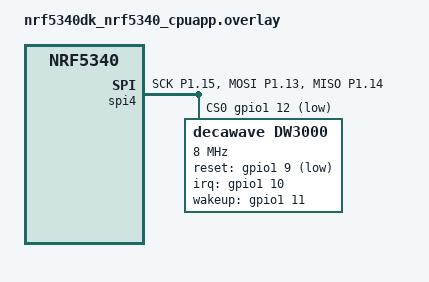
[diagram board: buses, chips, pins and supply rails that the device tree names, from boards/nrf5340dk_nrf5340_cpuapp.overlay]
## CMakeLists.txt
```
# Standalone Zephyr app: the credential initiator (User-Device role) on an nRF5340 DK,
# the bench stand-in for an iPhone. Scans for a reader's 0xFFF2 advert, opens the
# L2CAP channel and runs the Access Protocol to a shared URSK. No UWB: ranging on
# that URSK is Stage 1b and needs the DWM3000EVB driver linked in as well.
#
# Layout follows on_target_ec/ next door: a normal Zephyr app that lists the
# modules/ultrawidelock_cred sources it needs directly, rather than a Zephyr module gated
# on CONFIG_ULTRAWIDELOCK_CRED_STACK. That module deliberately omits the transport, and
# the source list here is the same one examples/esp32/initiator links through
# its ultrawidelock_{crypto,device,ble_central} components.
cmake_minimum_required(VERSION 3.20.0)
find_package(Zephyr REQUIRED HINTS $ENV{ZEPHYR_BASE})
project(ultrawidelock_initiator_nrf5340dk)

get_filename_component(REPO_ROOT "${CMAKE_CURRENT_LIST_DIR}/../../.." ABSOLUTE)
set(CRED "${REPO_ROOT}/modules/ultrawidelock_cred")
set(UWB_INC "${REPO_ROOT}/modules/ultrawidelock_uwb/include")
set(UWB "${REPO_ROOT}/modules/ultrawidelock_uwb/src/cred")
set(CCC "${REPO_ROOT}/modules/ultrawidelock_uwb/src/ccc")

# Shared sources by role manifest (modules/{ultrawidelock_cred,ultrawidelock_uwb}/roles/*.list) —
# the same lists the ESP32 components and the host suite read.
include("${REPO_ROOT}/cmake/ultrawidelock_roles.cmake")
ultrawidelock_role_sources("${CRED}/roles/ble_central.list" ULTRAWIDELOCK_BLE_CENTRAL_SRCS)
ultrawidelock_role_sources("${CRED}/roles/device.list" ULTRAWIDELOCK_DEVICE_SRCS)
ultrawidelock_role_sources("${CRED}/roles/apdu.list" ULTRAWIDELOCK_APDU_SRCS)
ultrawidelock_role_sources("${CRED}/roles/crypto.list" ULTRAWIDELOCK_CRYPTO_SRCS)
ultrawidelock_role_sources("${CRED}/roles/hash.list" ULTRAWIDELOCK_HASH_SRCS)
set(UWBROLES "${REPO_ROOT}/modules/ultrawidelock_uwb/roles")
ultrawidelock_role_sources("${UWBROLES}/ultrawidelock_device.list" UWB_DEVICE_SRCS)
ultrawidelock_role_sources("${UWBROLES}/ultrawidelock_codec.list" UWB_CODEC_SRCS)
ultrawidelock_role_sources("${UWBROLES}/ccc_keys.list" UWB_CCC_KEYS_SRCS)
ultrawidelock_role_sources("${UWBROLES}/crypto_psa.list" UWB_CRYPTO_SRCS)

target_sources(app PRIVATE
	src/main.c
	# BLE transport. The Zephyr backend lives with the reader's peripheral
	# mirror in ports/zephyr/ble so the two central/peripheral halves stay side
	# by side; it depends on no symbol from apps/dwm3001cdk-lock/Kconfig, which is what
	# makes it linkable from here. The ble_central role is the platform-free
	# decoder half, the same translation unit the ESP32 port and the host suite
	# compile.
	${REPO_ROOT}/ports/zephyr/ble/ultrawidelock_ble_central_zephyr.c
	${ULTRAWIDELOCK_BLE_CENTRAL_SRCS}
	# Access Protocol, device side (roles device + apdu), plus the key schedule
	# and the PSA primitive backend (roles crypto + hash).
	${ULTRAWIDELOCK_DEVICE_SRCS}
	${ULTRAWIDELOCK_APDU_SRCS}
	${ULTRAWIDELOCK_CRYPTO_SRCS}
	${ULTRAWIDELOCK_HASH_SRCS}
	# UWB ranging SETUP, device side. Roles, not the ultrawidelock_uwb Zephyr module:
	# that module's CMakeLists gates everything on CONFIG_ULTRAWIDELOCK_UWB_RESPONDER and
	# builds the reader's session, adapter and CCC engine, none of which a device
	# uses. ultrawidelock_device (ultrawidelock_device_uwb.c) is the M1/M3 parser and M2/M4
	# builder, host-tested by tests/host/test_ultrawidelock_device_uwb.c against the real
	# reader codec; ultrawidelock_codec is the TLV builder and parser it is written on.
	# No radio here.
	src/ranging.c
	${UWB_DEVICE_SRCS}
	${UWB_CODEC_SRCS}
	# UWB initiator role, radio side. Again not the ultrawidelock_uwb module: its CCC
	# block is gated on CONFIG_ULTRAWIDELOCK_CRED, which `depends on ULTRAWIDELOCK_UWB_RESPONDER`
	# and would drag in the reader's session, adapter and RX engine. The CCC
	# key schedule and MAC (role ccc_keys) are role-neutral -- nothing in
	# ccc_kdf.c or ccc_mac.c knows which end it is on -- so the initiator links
	# the same translation units the reader does. crypto_psa is the AES-ECB
	# seam behind the key schedule, matching the reader on nRF;
	# ccc_crypto_mbedtls.c is the ESP32 branch and is not wanted here.
	src/prepoll_tx.c
	${UWB_CCC_KEYS_SRCS}
	${UWB_CRYPTO_SRCS}
)
# The app target also compiles selected module sources, so their private
# sibling headers remain on this target's private include path.
target_include_directories(app PRIVATE ${CRED}/include ${CRED}/src
	# The UWB codec's own headers, the adapter/cherry headers its message struct
	# is declared in, and the two platform facades it compiles against
	# (qmalloc -> k_malloc, LOG_MODULE_DECLARE).
	${UWB_INC} ${UWB}
	${REPO_ROOT}/modules/ultrawidelock_uwb/src/facade
	${REPO_ROOT}/modules/ultrawidelock_port/include
	# The CCC key schedule and MAC headers, plus src/driver for uwb_seam.h
	# (ultrawidelock_uwb_configure_phy). CONFIG_ULTRAWIDELOCK_UWB already puts src/driver on the
	# path for the module's own library, but this app's sources are compiled
	# into `app`, which does not inherit it.
	${CCC}
	${REPO_ROOT}/modules/ultrawidelock_uwb/src/driver)

# Enrolled or not, decided here rather than with __has_include in main.c.
# semgrep cannot parse __has_include, and a file it cannot parse is one that
# NONE of its rules run against -- which would silently drop SAST coverage of
# the translation unit that holds the credential key. Configure-time detection
# means a freshly written header needs a re-configure to be picked up; that is
# what scripts/ultrawidelock-enroll.py tells you to do when it finishes.
if(EXISTS "${CMAKE_CURRENT_LIST_DIR}/src/bench_identity.h")
	message(STATUS "credential initiator: ENROLLED identity (src/bench_identity.h)")
	target_compile_definitions(app PRIVATE ULTRAWIDELOCK_BENCH_ENROLLED)
else()
	message(STATUS "credential initiator: DEV fallback identity, run scripts/ultrawidelock-enroll.py")
endif()
```

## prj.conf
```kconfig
# nRF5340 DK, app core: credential initiator (User-Device role).
#
# Two halves. The BLE half is the central mirror of the reader's peripheral
# config in apps/dwm3001cdk-lock/prj.conf, and the buffer sizing below is copied from it
# deliberately so an SDU that fits one fits the other. The PSA half is the same
# block on_target_ec/prj.conf proved against the real CryptoCell backend.
CONFIG_MAIN_STACK_SIZE=16384

# The Access Protocol does not run on main. L2CAP CoC reassembly lands on the
# system workqueue, so on_data() and everything under ultrawidelock_device_on_command()
# -- P-256 ECDH through PSA -- execute on this stack, and Zephyr's 1024 B default
# overflows the first time AUTH0 arrives (USAGE FAULT at ultrawidelock_device.c:298).
# apps/dwm3001cdk-lock/prj.conf:325 gives the reader 4096 for the same crypto; this side adds
# 644 B of response buffers on top (resp[320] + frame[4+320] in on_data), so it
# gets the next size up rather than the reader's exact figure.
CONFIG_SYSTEM_WORKQUEUE_STACK_SIZE=8192
CONFIG_STDOUT_CONSOLE=y

# The M2/M4 builder allocates each message (ultrawidelock_uwb_msg_builder.c: qmalloc ->
# k_malloc). Messages are tens of bytes and are freed as soon as they are sealed.
#
# This is a no-op today and deliberately kept: the board already contributes
# CONFIG_HEAP_MEM_POOL_ADD_SIZE_BOARD=4096, so the pool was this size before the
# line existed and the measured RAM cost of adding it was 7 bytes. It is here so
# the requirement is stated by the application that has it. A k_malloc against a
# zero-sized pool returns NULL with no build-time warning, and inheriting that
# size from a board default is not something to discover on hardware.
CONFIG_HEAP_MEM_POOL_SIZE=4096

# --- UWB radio ---------------------------------------------------------------
# ULTRAWIDELOCK_UWB alone is a complete tier: it compiles uwb_min.c and nothing else, which
# is the DW3110 bring-up driver plus a raw static-STS SS-TWR initiator burst. It
# selects SPI and GPIO for us and puts modules/ultrawidelock_uwb/src/driver and
# modules/ultrawidelock_port/include on the include path.
#
# Deliberately NOT ULTRAWIDELOCK_UWB_RESPONDER, which is the lock's role and pulls in the
# whole CCC/credential session engine. This board needs the initiator role, and that
# role does not exist yet (Kconfig has no symbol for it).
#
# Needs -DZEPHYR_EXTRA_MODULES with modules/ultrawidelock_uwb and modules/ultrawidelock_dw3000, and a
# PRISTINE build directory so boards/*.overlay is discovered. `make nrf-init-build`
# does both.
CONFIG_ULTRAWIDELOCK_UWB=y

# uwb_min.c is written against the Decawave driver (deca_device_api.h,
# dw3000_hw.h), and modules/ultrawidelock_dw3000 contributes nothing at all -- not even its
# include paths -- unless CONFIG_DW3000 is set: its whole CMakeLists is wrapped
# in if(CONFIG_DW3000). Putting the module on ZEPHYR_EXTRA_MODULES is necessary
# and not sufficient, and the failure is a missing header rather than anything
# that names the option. The chip choice mirrors apps/dwm3001cdk-lock/prj.conf:213-214; the
# DWM3000EVB carries a DW3110, which is the DW3000 branch.
CONFIG_DW3000=y
CONFIG_DW3000_CHIP_DW3000=y

# ports/zephyr/dw3000/dw3000_spi.c:127 calls spi_transceive_signal, which is the
# ASYNC SPI API and compiles to nothing without this -- the failure is a link
# error naming the symbol, with no hint that a Kconfig is missing.
# apps/dwm3001cdk-lock/prj.conf:210-212 carries the same line and the same explanation.
CONFIG_SPI_ASYNC=y

CONFIG_LOG=y
CONFIG_LOG_MODE_DEFERRED=y
CONFIG_LOG_BUFFER_SIZE=4096

# --- BLE: central + observer, the two roles the reader does not have ---------
# BT_OBSERVER is what lets us scan for the reader's 0xFFF2 advert; BT_CENTRAL is
# what lets us connect to it. Both are n in apps/dwm3001cdk-lock/prj.conf, which is the whole
# reason this app cannot simply be a build flag on the reader.
CONFIG_BT=y
CONFIG_BT_CENTRAL=y
CONFIG_BT_OBSERVER=y
CONFIG_BT_PERIPHERAL=n
CONFIG_BT_BROADCASTER=n
CONFIG_BT_MAX_CONN=1
CONFIG_BT_MAX_PAIRED=0
CONFIG_BT_DEVICE_NAME="ultrawidelock-initiator"

# GATT client: discover the service, discover the two characteristics, READ the
# reader's SPSM/version list, WRITE the version we select.
CONFIG_BT_GATT_CLIENT=y

# The credential data path is an L2CAP connection-oriented channel on the SPSM the
# READ returns. 512 matches ULTRAWIDELOCK_L2CAP_MTU in the backend and the reader's own
# CONFIG_BT_L2CAP_TX_MTU; the ACL sizes below leave the controller segmenting,
# which is what the reader already does over the air.
CONFIG_BT_L2CAP_DYNAMIC_CHANNEL=y
CONFIG_BT_L2CAP_TX_MTU=512
CONFIG_BT_BUF_ACL_RX_SIZE=255
CONFIG_BT_BUF_ACL_TX_SIZE=251

# SMP is not wanted for itself — nothing here pairs — but BT_L2CAP_DYNAMIC_CHANNEL
# `depends on BT_SMP` (zephyr/subsys/bluetooth/host/Kconfig.l2cap:49), so turning
# it off silently drops the CoC support with no warning and the link fails on
# bt_l2cap_chan_connect. The reader carries it for the same reason
# (apps/dwm3001cdk-lock/prj.conf:29). Bonding and signing stay off, which is the part that
# actually matters.
CONFIG_BT_SMP=y
CONFIG_BT_BONDABLE=n
CONFIG_BT_SIGNING=n
CONFIG_BT_GATT_CACHING=n
CONFIG_BT_EATT=n

# --- PSA crypto ---------------------------------------------------------------
CONFIG_NRF_SECURITY=y
CONFIG_MBEDTLS_PSA_CRYPTO_C=y

# PSA working buffers come from the mbedTLS heap. Without it psa_import_key,
# AES-GCM and P-256 all fail with -141 (PSA_ERROR_INSUFFICIENT_MEMORY).
CONFIG_MBEDTLS_ENABLE_HEAP=y
CONFIG_MBEDTLS_HEAP_SIZE=32768

# The exact primitives ultrawidelock_prim_psa.c calls.
CONFIG_PSA_WANT_ALG_ECDSA=y
CONFIG_PSA_WANT_ALG_ECDH=y
CONFIG_PSA_WANT_KEY_TYPE_ECC_KEY_PAIR_GENERATE=y
CONFIG_PSA_WANT_KEY_TYPE_ECC_KEY_PAIR_IMPORT=y
CONFIG_PSA_WANT_KEY_TYPE_ECC_KEY_PAIR_EXPORT=y
CONFIG_PSA_WANT_KEY_TYPE_ECC_KEY_PAIR_DERIVE=y
CONFIG_PSA_WANT_KEY_TYPE_ECC_PUBLIC_KEY=y
CONFIG_PSA_WANT_ECC_SECP_R1_256=y
CONFIG_PSA_WANT_ALG_SHA_256=y
CONFIG_PSA_WANT_ALG_GCM=y
CONFIG_PSA_WANT_KEY_TYPE_AES=y
CONFIG_PSA_WANT_GENERATE_RANDOM=y

# The CCC key schedule (ccc_kdf.c) is built entirely on one AES-ECB block
# encrypt, reached through ccc_crypto_psa.c. Without this the file still
# compiles and links -- PSA_ALG_ECB_NO_PADDING is always declared -- and
# psa_cipher_encrypt fails at RUNTIME with NOT_SUPPORTED, which surfaces as a
# Pre-POLL the reader silently drops on a MIC check. Nothing names the missing
# option.
CONFIG_PSA_WANT_ALG_ECB_NO_PADDING=y
```

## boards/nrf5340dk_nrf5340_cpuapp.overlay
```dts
/*
 * DWM3000EVB on the nRF5340 DK Arduino header, for the credential initiator.
 *
 * The pinout is copied verbatim from apps/nrf5340dk-lock/overlays/dw3000-nfc.overlay,
 * which is the wiring proven on this bench (HV-3, 2026-08-06: raw DEV_ID reads
 * 0xdeca0302 and ultrawidelock_uwb_start_cred() reaches ACTIVE). Only the DW3000 half is
 * here. That file also retargets SPIM1 for an NFC12A1 shield and patches a
 * nucleo_nfc@0 node that exists only in the door-lock app's devicetree, so it
 * cannot be reused as-is: an initiator has no NFC frontend and referencing that
 * node would fail to build.
 *
 * This lands as boards/<board>.overlay rather than an -DEXTRA_DTC_OVERLAY_FILE
 * argument so the shield travels with the application, the way on_target_ec's
 * config does. There is no second supported wiring to select between.
 *
 * DW3000 (DWM3000EVB) on SPIM4: SCK P1.15, MOSI P1.13, MISO P1.14, CS P1.12,
 *   RSTn P1.09, IRQ P1.10, WAKEUP P1.11 (Arduino header, seated shield).
 */

&pinctrl {
	spi4_default: spi4_default {
		group1 {
			psels = <NRF_PSEL(SPIM_SCK,  1, 15)>,
				<NRF_PSEL(SPIM_MOSI, 1, 13)>,
				<NRF_PSEL(SPIM_MISO, 1, 14)>;
		};
	};

	spi4_sleep: spi4_sleep {
		group1 {
			psels = <NRF_PSEL(SPIM_SCK,  1, 15)>,
				<NRF_PSEL(SPIM_MOSI, 1, 13)>,
				<NRF_PSEL(SPIM_MISO, 1, 14)>;
			low-power-enable;
		};
	};
};

&spi4 {
	status = "okay";
	pinctrl-0 = <&spi4_default>;
	pinctrl-1 = <&spi4_sleep>;
	pinctrl-names = "default", "sleep";
	cs-gpios = <&gpio1 12 GPIO_ACTIVE_LOW>;

	dw3000: dw3000@0 {
		compatible = "decawave,dw3000";
		reg = <0>;
		/* 8 MHz, the same proven value as the door lock's overlay.
		 *
		 * This property does NOT set the probe speed, which is worth knowing
		 * before tuning it: ports/zephyr/dw3000/dw3000_spi.c:47-49 keeps two
		 * configs, hard-codes the slow one at 2 MHz, and starts on it. The
		 * devicetree value only lands after dw3000_spi_speed_fast(). Dropping
		 * this to 2 MHz to chase a bad probe read therefore changes nothing
		 * about the probe and only slows the ranging path -- measured here, the
		 * bad read was byte-for-byte identical at both speeds. */
		spi-max-frequency = <8000000>;
		reset-gpios  = <&gpio1  9 GPIO_ACTIVE_LOW>;
		irq-gpios    = <&gpio1 10 GPIO_ACTIVE_HIGH>;
		wakeup-gpios = <&gpio1 11 GPIO_ACTIVE_HIGH>;
	};
};

&gpio1 {
	status = "okay";
};
```

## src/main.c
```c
/* SPDX-License-Identifier: ISC */

// nRF5340 DK application entry for the credential initiator, the User-Device role that
// stands in for an iPhone on the bench. Starts the Zephyr BLE central, which
// scans for the reader's 0xFFF2 advert, connects, reads the reader's SPSM,
// supported versions and features, writes the version it selects, and opens the
// L2CAP channel. It then runs the Access Protocol over that channel: every
// inbound AUTH0/AUTH1/EXCHANGE command is fed to the device state machine and the
// sealed response is framed straight back, ending in the same 32-byte URSK the
// reader derives. Credentials are the compiled-in bench pair below, which works
// only against a reader running its dev identity with an empty trust store.
/*
 * Port of examples/esp32/initiator/main/main.c -- the same program on two
 * stacks, differing only in logging macros and entry point (ultrawidelock_ble_central.h
 * absorbs NimBLE-vs-Zephyr); keep them in step. The transport half lives in
 * ports/zephyr/ble/ultrawidelock_ble_central_zephyr.c, the protocol half in ultrawidelock_cred's
 * ultrawidelock_device; this file is only the glue. UWB is NOT yet wired: ESTABLISHED
 * means the boards agreed a URSK, ranging on it needs the DWM3000EVB driver.
 */
#include <stdbool.h>
#include <string.h>

#include <zephyr/kernel.h>
#include <zephyr/logging/log.h>

#include "ultrawidelock_apdu.h" /* 4-byte envelope: frame/unframe + PROTO/OP constants */
#include "ultrawidelock_ble_central.h"
#include "ultrawidelock_crypto.h" /* ultrawidelock_crypto_init: brings up the PSA backend */
#include <ultrawidelock/device.h>
#include "ranging.h" /* the post-auth BleSK ranging-setup driver */

#if defined(CONFIG_ULTRAWIDELOCK_UWB)
#include "uwb_min.h"
#if defined(CONFIG_SOC_SERIES_NRF53)
#include <hal/nrf_clock.h>
#include <nrfx.h>
#include <zephyr/init.h>

/**
 * Put HFCLK on DIV_1 before anything else starts, so SPIM4 samples MISO correctly.
 *
 * Measured on this bench 2026-08-07. With HFCLKCTRL at DIV_2, every DW3000 read
 * comes back sampled one SPI clock early: DEV_ID 0xdeca0302 arrives as
 * 0x6fe50101, which reconstructs exactly under a one-bit right shift with
 * byte-to-byte carry. Setting DIV_1 turns the same read good on the same board
 * with nothing else changed, so the divider is causal rather than correlated.
 * SPIM4's sample point is derived from HFCLK; spi_nrfx_spim.c:182-184 reads this
 * same divider for the same reason.
 *
 * Why this is not inherited: nrf_qspi_nor.c is the ONLY caller of
 * nrf_clock_hfclk_div_set() in Zephyr and NCS combined. The door lock reads the
 * DW3000 correctly purely because it builds CONFIG_NORDIC_QSPI_NOR for its
 * external flash and that driver leaves the divider on DIV_1. This application
 * has no external flash and must therefore own the divider itself. Do not
 * "clean this up" by deleting it because nothing appears to use it.
 *
 * PRE_KERNEL_1 so it lands before the SPI driver, and well before BLE and MPSL,
 * which is the reason it is here and not in radio_probe(): changing a global
 * clock underneath a running radio is how you buy intermittent faults.
 */
static int hfclk_div_fixup(void)
{
	nrf_clock_hfclk_div_set(NRF_CLOCK, NRF_CLOCK_HFCLK_DIV_1);
	return 0;
}
SYS_INIT(hfclk_div_fixup, PRE_KERNEL_1, 0);
#endif
#endif

LOG_MODULE_REGISTER(initiator, CONFIG_LOG_DEFAULT_LEVEL);

/* credential protocol v1.0 — the only version our reader offers or we speak. */
#define INITIATOR_VERSION 0x0100u

/* The largest Access-Protocol response we build. AUTH1Response is the big one
 * (65-byte device public key + 64-byte signature + TLV overhead) and lands well
 * under this; the reader sizes its own command buffer at 256 for the same
 * reason. */
#define INITIATOR_RESP_MAX 320u

/* An enrolled build gets its identity from the header scripts/ultrawidelock-enroll.py
 * writes: the real reader's public identity read back over Matter, plus a
 * credential this initiator was issued by the reader's home. That is the
 * high-fidelity configuration -- the reader is a normal provisioned lock and we
 * are a normal enrolled device. The header is gitignored because it carries a
 * private key, so its absence is the ordinary case and must not break the build.
 *
 * CMakeLists.txt decides which way this goes, by looking for the file. It is NOT
 * __has_include: that construct is unparseable to semgrep, and a file it cannot
 * parse is a file NONE of its rules run against -- a silent loss of SAST
 * coverage over the one translation unit here that handles key material. The
 * cost is that adding the header needs a re-configure, not just a rebuild.
 */
#ifdef ULTRAWIDELOCK_BENCH_ENROLLED
#include "bench_identity.h"
#endif

#ifndef ULTRAWIDELOCK_BENCH_ENROLLED
/*
 * ---- bench credentials -----------------------------------------------------
 *
 * Fallback for an un-enrolled bench: only works against a reader on its DEV
 * identity. Run scripts/ultrawidelock-enroll.py to target a real provisioned reader.
 *
 * The reader identity below is the DEV identity every unprovisioned reader falls
 * back to (ultrawidelock_prov.c, ultrawidelock_prov_dev_default). reader_id is that file's
 * k_dev_reader_id verbatim, and the verification key is the public point of its
 * k_dev_sign_priv — note reader_id is exactly that point's X coordinate, which
 * is how the dev identity was constructed and a free check that these two agree.
 *
 * This only works against a reader that is still on its dev identity AND has an
 * empty trust store: that combination makes the reader accept any presented
 * credential (ultrawidelock_reader.c, the tv == 1 && s_id.is_dev branch). A reader
 * provisioned over Matter has a real identity and enforces its trust store, so
 * these constants are wrong for it and the transaction will fail at AUTH1.
 *
 * The credential keypair is a throwaway generated for the bench. It is a real
 * P-256 key and it is in a public repository, so it is a test fixture and
 * nothing else: never provision it into anything that guards a door.
 */
static const uint8_t k_reader_id[32] = {
	0x11, 0x3b, 0x1a, 0x9e, 0xf2, 0x95, 0x67, 0x60, 0x8b, 0x75, 0x00,
	0xfb, 0xac, 0xa6, 0x09, 0xe9, 0xc0, 0x7b, 0x87, 0x4e, 0x18, 0x2a,
	0xe5, 0x65, 0x02, 0x4b, 0x54, 0x3e, 0x3b, 0x40, 0x93, 0x5f,
};
static const uint8_t k_reader_verif_pub[65] = {
	0x04, 0x11, 0x3b, 0x1a, 0x9e, 0xf2, 0x95, 0x67, 0x60, 0x8b, 0x75, 0x00, 0xfb,
	0xac, 0xa6, 0x09, 0xe9, 0xc0, 0x7b, 0x87, 0x4e, 0x18, 0x2a, 0xe5, 0x65, 0x02,
	0x4b, 0x54, 0x3e, 0x3b, 0x40, 0x93, 0x5f, 0xe2, 0x96, 0x5c, 0x08, 0x3e, 0xac,
	0x2c, 0x96, 0xf0, 0x49, 0x5b, 0x0c, 0x3c, 0x6b, 0x09, 0x12, 0x15, 0xca, 0x3d,
	0x40, 0x6f, 0x82, 0x14, 0x1b, 0xfd, 0x18, 0x66, 0xf4, 0xad, 0x1e, 0x8c, 0xd4,
};
static const uint8_t k_cred_priv[32] = {
	0x33, 0xbb, 0x36, 0x4e, 0xf0, 0xf2, 0xee, 0xfe, 0xdc, 0xd3, 0x22,
	0x8a, 0xe8, 0x57, 0x2f, 0xc2, 0xe5, 0xc9, 0x02, 0x4a, 0x40, 0xc5,
	0xe5, 0x78, 0xcb, 0xa2, 0xa6, 0x93, 0x8b, 0x29, 0xc3, 0xb5,
};
#endif /* ULTRAWIDELOCK_BENCH_ENROLLED */

/* One transaction at a time: the reader serves one credential session per connection
 * and the central connects to one reader. s_conn is the connection s_dev belongs
 * to, so a stale SDU after a reconnect cannot be fed to the wrong session. */
static struct ultrawidelock_device s_dev;
static uint16_t s_conn;
static bool s_armed;

/**
 * Return a human-readable string for a credential device phase: IDLE, SENT_AUTH0_RESP,
 * SENT_AUTH1_RESP, ESTABLISHED, or FAILED.
 */
static const char *phase_str(enum ultrawidelock_device_phase p)
{
	switch (p) {
	case ULTRAWIDELOCK_DEV_IDLE:
		return "IDLE";
	case ULTRAWIDELOCK_DEV_SENT_AUTH0_RESP:
		return "SENT_AUTH0_RESP";
	case ULTRAWIDELOCK_DEV_SENT_AUTH1_RESP:
		return "SENT_AUTH1_RESP";
	case ULTRAWIDELOCK_DEV_ESTABLISHED:
		return "ESTABLISHED";
	default:
		return "FAILED";
	}
}

/**
 * Callback when the BLE transport is ready after the peer advertises its SPSM and supported
 * versions. Initialize the device state machine with the credential private key and reader
 * identity, derive the BleSK salt from the peer's published version list, and arm the device to
 * wait for AUTH0. Log connection and version details.
 */
static void on_ready(uint16_t conn_handle, const struct ultrawidelock_ble_central_peer *peer)
{
	LOG_INF("=== transport up (conn %u) ===", conn_handle);
	LOG_INF("  SPSM     0x%04x", (unsigned)peer->spsm);
	LOG_INF("  features 0x%02x", peer->features);
	for (size_t i = 0; i < peer->versions_count; i++) {
		LOG_INF("  version[%u] 0x%04x", (unsigned)i, (unsigned)peer->versions[i]);
	}

	s_armed = false;
	if (ultrawidelock_device_init(&s_dev, k_cred_priv, k_reader_id, k_reader_verif_pub) != 0) {
		LOG_ERR("device init failed (EC unavailable?)");
		return;
	}

	/* The peer's published version list is the BleSK salt (§11.8.1), and it is a
	 * property of the reader, not of us: our ESP32 reader publishes v1.0 alone
	 * while the nRF publishes two entries. Taking it from the GATT READ we just
	 * did is the whole reason that READ happens before the channel opens; the
	 * compiled-in default would derive a BleSK the nRF does not share. */
	uint8_t salt[2u * (ULTRAWIDELOCK_BLE_CENTRAL_MAX_VERSIONS + 1u)];
	size_t salt_len = 0;

	if (ultrawidelock_ble_central_blesk_salt(peer, INITIATOR_VERSION, salt, sizeof(salt), &salt_len) !=
	    0) {
		LOG_ERR("BleSK salt assembly failed");
		return;
	}
	if (ultrawidelock_device_set_blesk_salt(&s_dev, salt, salt_len) != 0) {
		LOG_ERR("BleSK salt rejected (%u B)", (unsigned)salt_len);
		return;
	}
	LOG_HEXDUMP_INF(salt, salt_len, "blesk salt");

	s_conn = conn_handle;
	s_armed = true;

	/*
	 * The DEVICE speaks first. The reader sits in PH_IDLE until it receives
	 * a NOTIFICATION/Initiate-Access-Protocol frame, and start_auth() --
	 * which is what emits AUTH0 -- has exactly one call site, that branch
	 * (ultrawidelock_reader.c:1529). Without this both ends wait for each other: the
	 * L2CAP channel opens, the reader logs "credential session created", and
	 * nothing else ever happens. Observed on hardware, twice, before this
	 * line existed.
	 *
	 * The payload is the 0xA5 proprietary-info TLV that becomes the trailing
	 * field of the session-key salt (Aliro Table 10-2). A real phone sends
	 * its own; this is the CSA-app v1.0-only value, byte-identical to the
	 * fallback the reader substitutes when a device sends none -- so the two
	 * ends derive the same salt whether or not this frame carries it, and
	 * the reader logs which of the two happened.
	 */
	{
		static const uint8_t a5_csa_v1[] = {
			0xa5, 0x08, 0x80, 0x02, 0x00, 0x00, 0x5c, 0x02, 0x01, 0x00,
		};
		uint8_t frame[ULTRAWIDELOCK_ENVELOPE_HDR + sizeof(a5_csa_v1)];
		size_t frame_len = 0;
		int rc;

		if (ultrawidelock_ble_frame(
			    ULTRAWIDELOCK_PROTO_NOTIFICATION, ULTRAWIDELOCK_NOTIF_INITIATE_AP,
			    a5_csa_v1, sizeof(a5_csa_v1), frame, sizeof(frame), &frame_len) != 0) {
			LOG_ERR("Initiate-AP framing failed");
			return;
		}
		rc = ultrawidelock_ble_central_send(conn_handle, frame, frame_len);
		LOG_INF("device armed; sent Initiate-AP (%u B, rc=%d), expecting AUTH0",
			(unsigned)frame_len, rc);
	}
}

static void on_data(uint16_t conn_handle, const uint8_t *data, size_t len)
{
	uint8_t type, opcode;
	const uint8_t *pl;
	size_t pl_len;

	/* One envelope per SDU. Our reader sends exactly that (send_ap_command frames
	 * and sends one at a time), so this is right against it; the reader's own RX
	 * path splits coalesced envelopes because a real iPhone packs several into one
	 * SDU. If this is ever pointed at a reader that does the same, the trailing
	 * envelopes are dropped here and the transaction stalls. */
	if (ultrawidelock_ble_unframe(data, len, &type, &opcode, &pl, &pl_len) != 0) {
		LOG_WRN("conn %u: not a valid envelope (%u B)", conn_handle, (unsigned)len);
		LOG_HEXDUMP_WRN(data, len, "sdu");
		return;
	}

	/* Once ESTABLISHED the reader stops speaking Access Protocol and starts
	 * sending BleSK-sealed SDUs on the ranging channel, beginning with
	 * Reader-Status Access-Protocol-Completed. Those go to ranging.c.
	 *
	 * It gets the WHOLE SDU, not the unframed payload: a sealed SDU already is
	 * [proto][id][len_be16][ct||tag], so the four bytes unframed above are its
	 * own authenticated header, not an envelope wrapped around it. They were
	 * only unframed here because the two framings are the same shape. */
	if (type != ULTRAWIDELOCK_PROTO_ACCESS || opcode != ULTRAWIDELOCK_AP_OP_COMMAND) {
		if (initiator_ranging_on_sdu(conn_handle, data, len) == 0) {
			return;
		}
		LOG_INF("conn %u: non-AP SDU type=0x%02x op=0x%02x (%u B), no consumer",
			conn_handle, type, opcode, (unsigned)pl_len);
		LOG_HEXDUMP_INF(pl, pl_len, "payload");
		return;
	}

	if (!s_armed || conn_handle != s_conn) {
		LOG_WRN("conn %u: AP command with no armed session", conn_handle);
		return;
	}

	uint8_t resp[INITIATOR_RESP_MAX];
	size_t resp_len = 0;

	if (ultrawidelock_device_on_command(&s_dev, pl, pl_len, resp, sizeof(resp), &resp_len) != 0) {
		LOG_ERR("conn %u: command rejected in phase %s", conn_handle,
			phase_str(s_dev.phase));
		LOG_HEXDUMP_ERR(pl, pl_len, "command");
		s_armed = false;
		return;
	}

	uint8_t frame[ULTRAWIDELOCK_ENVELOPE_HDR + INITIATOR_RESP_MAX];
	size_t frame_len = 0;

	if (ultrawidelock_ble_frame(ULTRAWIDELOCK_PROTO_ACCESS, ULTRAWIDELOCK_AP_OP_RESPONSE, resp,
				    resp_len, frame, sizeof(frame), &frame_len) != 0) {
		LOG_ERR("conn %u: response framing failed (%u B)", conn_handle, (unsigned)resp_len);
		return;
	}

	int rc = ultrawidelock_ble_central_send(conn_handle, frame, frame_len);

	LOG_INF("conn %u: -> %u B response, phase %s (send rc=%d)", conn_handle, (unsigned)resp_len,
		phase_str(s_dev.phase), rc);

	if (s_dev.phase == ULTRAWIDELOCK_DEV_ESTABLISHED) {
		LOG_INF("=== ESTABLISHED: URSK agreed with the reader ===");
		LOG_HEXDUMP_INF(s_dev.ursk, sizeof(s_dev.ursk), "ursk");
		/* sc_ble is keyed by the same derivation that produced the URSK, so the
		 * ranging channel is usable from this line onward and not before. */
		initiator_ranging_begin(&s_dev, conn_handle);
	}
}

static void on_closed(uint16_t conn_handle)
{
	LOG_WRN("transport closed (conn %u, phase %s)", conn_handle,
		s_armed ? phase_str(s_dev.phase) : "unarmed");
	/* The URSK and both channel keys die with the connection; zero them rather
	 * than leave a live session key in RAM for the next walk-up to trip over. */
	initiator_ranging_end(conn_handle);
	if (conn_handle == s_conn) {
		memset(&s_dev, 0, sizeof(s_dev));
		s_armed = false;
	}
}

#if defined(CONFIG_ULTRAWIDELOCK_UWB)
/**
 * Bring up the DWM3000EVB and report its DEV_ID.
 *
 * The first step of Stage 1b part two, and on its own it proves only that the
 * seated shield answers over SPI from THIS application: the reader's own probe
 * runs inside a Matter door lock, so nothing until now showed the radio coming up
 * beside a BLE central. Never fatal. A missing or unseated shield must not stop
 * the board doing the BLE half, which is the part that works.
 */
static void radio_probe(void)
{
	uint32_t id = 0;
	int rc = uwb_min_radio_init();

	if (rc != 0) {
		LOG_ERR("DW3000 init failed (rc=%d); is the DWM3000EVB seated?", rc);
		return;
	}
	if (uwb_min_read_chipid(&id) != 0) {
		LOG_ERR("DW3000 DEV_ID read failed");
		return;
	}
	LOG_INF("DW3000 raw DEV_ID = 0x%08x (expect 0x%08x)", (unsigned)id,
		(unsigned)UWB_DW3110_DEV_ID);
}
#else
static void radio_probe(void)
{
}
#endif

/**
 * Initialize the credential BLE central stack, register event callbacks for ready/data/closed,
 * bring up the PSA crypto backend, and begin scanning for a credential reader.
 */
int main(void)
{
	struct ultrawidelock_ble_central_config cfg;

	/* Who we CONNECT to and who we AUTHENTICATE as are deliberately separate
	 * here. cfg.reader_id is left all-zero, which makes the transport latch onto
	 * the first credential reader it sees and log its group id; the crypto identity is
	 * k_reader_id above. Filling cfg.reader_id in would be the correct behaviour
	 * for a real device, but on the bench it turns "the reader was provisioned
	 * over Matter, so the dev constants are wrong" into an initiator that scans
	 * forever in silence. Latching instead gets us to a legible AUTH1 rejection
	 * that names the phase it died in. */
	memset(&cfg, 0, sizeof(cfg));
	cfg.selected_version = INITIATOR_VERSION;
	cfg.cb.on_ready = on_ready;
	cfg.cb.on_data = on_data;
	cfg.cb.on_closed = on_closed;

	/* Bring up the PSA backend before anything can reach for a key. The reader
	 * does this inside ultrawidelock_reader_start (ultrawidelock_reader.c:1447); the initiator has
	 * no equivalent entry point, so it belongs here. Without it ultrawidelock_device_init
	 * fails in on_ready, which is a confusing place to discover it. */
	if (ultrawidelock_crypto_init() != 0) {
		LOG_ERR("PSA crypto init failed");
		return 0;
	}

	/* Before BLE, so the radio's verdict is the first thing in the log rather
	 * than something to hunt for after a walk-up. Moving it later was tried and
	 * reverted: probing at ~258 ms and at 2 s after boot read the same bytes, but
	 * both runs were against a badly seated shield, so that comparison shows only
	 * that the fault was constant, not that the timing is safe. If a probe ever
	 * fails here, reseat the DWM3000EVB before touching this call site. */
	radio_probe();

	if (ultrawidelock_ble_central_start(&cfg) != 0) {
		LOG_ERR("BLE central start failed");
		return 0;
	}
	LOG_INF("credential initiator up; scanning for a reader");
	/* Which identity is compiled in decides which readers can possibly answer,
	 * and getting that wrong looks identical to a transport fault from the log. */
#ifdef ULTRAWIDELOCK_BENCH_ENROLLED
	LOG_INF("identity: ENROLLED (scripts/ultrawidelock-enroll.py)");
#else
	LOG_INF("identity: DEV fallback -- only an unprovisioned reader will accept us");
#endif

	/* Returning is correct on Zephyr, unlike the ESP-IDF app's forever loop: the
	 * whole chain from here runs on the BT RX thread's callbacks, and main's stack
	 * is reclaimed rather than parked in a sleep. */
	return 0;
}
```

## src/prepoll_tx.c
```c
/* SPDX-License-Identifier: ISC */

// Device-side CCC Pre-POLL transmitter. See prepoll_tx.h for scope.
#include "prepoll_tx.h"

#include <errno.h>
#include <string.h>

#include <zephyr/kernel.h>
#include <zephyr/logging/log.h>

#include <deca_device_api.h>

#include "ccc_kdf.h"
#include "ccc_mac.h"
#include "ccc_session.h"
#include "uwb_min.h"
#include "uwb_seam.h"

LOG_MODULE_REGISTER(prepoll_tx, LOG_LEVEL_INF);

/* How often a Pre-POLL goes out. This is NOT the negotiated CCC ranging-block
 * period -- nothing in the M1-M4 exchange this board runs reports one in
 * milliseconds, and inventing a figure would imply a synchronisation that does
 * not exist yet. It is a bench cadence, and it is sound only because the
 * reader's Pre-POLL listener self-rearms after every RX outcome and is
 * therefore always up. The moment a POLL follows, this constant stops being
 * arbitrary and has to come from the negotiation. */
#define PREPOLL_TX_PERIOD_MS 200

/* SYS_STATUS bits written back after a transmit, so the next poll starts clean. */
#define PREPOLL_TX_STATUS_CLEAR                                                                    \
	(DWT_INT_TXFRB_BIT_MASK | DWT_INT_TXPRS_BIT_MASK | DWT_INT_TXPHS_BIT_MASK |                \
	 DWT_INT_TXFRS_BIT_MASK)

/* MHR + ciphertext + MIC. 44 bytes, and the reader rejects anything shorter
 * (ccc_shim_rx.c: datalength < CCC_MHR_LEN + CCC_PRE_POLL_LEN + CCC_SP0_MIC_LEN). */
#define PREPOLL_FRAME_LEN (CCC_MHR_LEN + CCC_PRE_POLL_LEN + CCC_SP0_MIC_LEN)

/* Per-session constants: derived once at start, reused for every block. Same
 * split the reader makes in prepoll_decode()'s g_uad_cached branch, for the same
 * reason -- these depend only on the URSK and STS_Index0. */
static uint8_t s_mupsk1[CCC_MUPSK1_LEN];
static uint8_t s_keysource[CCC_KEYSOURCE_LEN];
static uint8_t s_dest_short[CCC_DEST_SHORT_ADDR_LEN];
static uint8_t s_src_long[CCC_SRC_LONG_ADDR_LEN];

static struct ccc_ran_params s_ran;
static uint32_t s_session_id;
static uint32_t s_block;
static uint32_t s_frame_counter;
static uint32_t s_sent;
static bool s_running;

static void prepoll_tx_work(struct k_work *work);
static K_WORK_DELAYABLE_DEFINE(s_work, prepoll_tx_work);

/**
 * Apply the SP0 PHY the reader listens on.
 *
 * Every field here is the reader's own prepoll_apply_phy() in
 * modules/ultrawidelock_uwb/src/ccc/ccc_shim_rx.c, and it has to stay that way: a Pre-POLL
 * sent on a different preamble length, SFD type or data rate is not a frame the
 * reader can hear at all, and the failure looks exactly like a bad key.
 *
 * The two that were learned on hardware rather than read off a spec, per that
 * file's comments: SFD is the ternary 8-symbol IEEE 4a pattern, not 4z (4z
 * SFD-timed-out on every real phone frame), and preamble length is 64 because
 * CCC config 0 pins it there.
 */
static int prepoll_tx_apply_phy(uint8_t channel, uint8_t preamble_code)
{
	dwt_config_t cfg = {
		.chan = channel,
		.txPreambLength = DWT_PLEN_64,
		.rxPAC = DWT_PAC8,
		.txCode = preamble_code,
		.rxCode = preamble_code,
		.sfdType = DWT_SFD_IEEE_4A,
		.dataRate = DWT_BR_6M8,
		.phrMode = DWT_PHRMODE_STD,
		.phrRate = DWT_PHRRATE_STD,
		.sfdTO = 64 + 1,
		.stsMode = DWT_STS_MODE_OFF, /* SP0 -- data frame, PHR + payload, no STS */
		.stsLength = DWT_STS_LEN_64,
		.pdoaMode = DWT_PDOA_M0,
	};
	int rc = uwb_min_radio_init();

	if (rc != 0) {
		LOG_ERR("radio init failed (%d)", rc);
		return rc;
	}
	/* uwb_min_radio_init() leaves the radio on its own baseline (channel 9,
	 * preamble code 11, SP3-ND). That is a different PHY, so reconfigure --
	 * and force TRX off first, because dwt_configure on a live transceiver is
	 * not defined to be safe. */
	dwt_forcetrxoff();
	if (ultrawidelock_uwb_configure_phy(&cfg) != DWT_SUCCESS) {
		LOG_ERR("dwt_configure failed (ch=%u code=%u)", channel, preamble_code);
		return -EIO;
	}
	return 0;
}

/** Build one block's 44-byte Pre-POLL into @out. */
static int prepoll_tx_build(uint8_t out[PREPOLL_FRAME_LEN], uint32_t *poll_sts_index_out)
{
	struct ccc_mhr_fields mhr = {
		.frame_counter = s_frame_counter,
		.msg_id = CCC_MSG_ID_PRE_POLL,
		.payload_len = CCC_PRE_POLL_LEN,
	};
	struct ccc_pre_poll pp;
	uint8_t plain[CCC_PRE_POLL_LEN];
	uint16_t round;
	int rc;

	round = ccc_block_round(&s_ran, s_block);
	pp.uwb_session_id = s_session_id;
	pp.poll_sts_index = ccc_slot_sts_index(&s_ran, s_block, round, CCC_SLOT_POLL, 0u);
	/* uint32 block index down to the u16 the payload carries; the reader only
	 * uses it as a label, and the STS index above is the value it acts on. */
	pp.ranging_block = (uint16_t)s_block;
	pp.hop_flag = 0u;
	pp.round_index = round;

	/* DestShort and KeySource are the UAD-derived addresses. The reader logs
	 * them against its own copy as a self-check and does NOT reject a mismatch
	 * -- only the MIC decides -- so getting them right here is what makes that
	 * self-check line worth reading. */
	mhr.dest_short_addr =
		(uint16_t)((uint16_t)s_dest_short[0] | ((uint16_t)s_dest_short[1] << 8));
	memcpy(mhr.key_source, s_keysource, sizeof(mhr.key_source));

	rc = ccc_build_mhr(&mhr, out);
	if (rc != 0) {
		return rc;
	}
	rc = ccc_pre_poll_pack(&pp, plain);
	if (rc != 0) {
		return rc;
	}
	/* The MHR is authenticated but not encrypted; the 13-byte payload is both.
	 * Same argument order the reader decrypts with. */
	rc = ccc_sp0_encrypt(s_mupsk1, s_src_long, mhr.frame_counter, out, CCC_MHR_LEN, plain,
			     CCC_PRE_POLL_LEN, &out[CCC_MHR_LEN],
			     &out[CCC_MHR_LEN + CCC_PRE_POLL_LEN]);
	if (rc != 0) {
		return rc;
	}
	*poll_sts_index_out = pp.poll_sts_index;
	return 0;
}

/** Put one Pre-POLL on the air and wait for TXFRS. */
static int prepoll_tx_one(void)
{
	uint8_t frame[PREPOLL_FRAME_LEN];
	uint32_t poll_sts_index = 0u;
	uint32_t status = 0u;
	int64_t deadline;
	int rc;

	rc = prepoll_tx_build(frame, &poll_sts_index);
	if (rc != 0) {
		LOG_ERR("Pre-POLL build failed (%d)", rc);
		return rc;
	}

	if (dwt_writetxdata(PREPOLL_FRAME_LEN, frame, 0) != DWT_SUCCESS) {
		LOG_ERR("dwt_writetxdata failed");
		return -EIO;
	}
	/* +2 for the FCS the chip appends. ranging=0: the Pre-POLL is a data frame
	 * announcing the block, not one of the timestamped RFRAMEs, and the reader
	 * takes no timestamp from it. Unverified against a real phone's PHR, which
	 * this board has no way to read; if a capture ever shows the bit set, this
	 * is the line to change. */
	dwt_writetxfctrl(PREPOLL_FRAME_LEN + 2u, 0, 0);

	if (dwt_starttx(DWT_START_TX_IMMEDIATE) != DWT_SUCCESS) {
		LOG_ERR("dwt_starttx failed");
		return -EIO;
	}

	deadline = k_uptime_get() + 20;
	while (k_uptime_get() < deadline) {
		status = dwt_readsysstatuslo();
		if (status & DWT_INT_TXFRS_BIT_MASK) {
			break;
		}
	}
	if ((status & DWT_INT_TXFRS_BIT_MASK) == 0u) {
		LOG_ERR("TX did not complete: SYS_STATUS=0x%08x", status);
		dwt_forcetrxoff();
		return -EIO;
	}
	dwt_writesysstatuslo(PREPOLL_TX_STATUS_CLEAR);

	/* First frame gets a full line; after that one line per 25 blocks (~5 s),
	 * so a long bench run stays readable. */
	if (s_sent == 0u || (s_sent % 25u) == 0u) {
		LOG_INF("Pre-POLL #%u sent: block %u, poll_sts_index 0x%08x, fc %u",
			(unsigned)s_sent, (unsigned)s_block, (unsigned)poll_sts_index,
			(unsigned)s_frame_counter);
	}
	s_sent++;
	s_block++;
	s_frame_counter++;
	return 0;
}

static void prepoll_tx_work(struct k_work *work)
{
	ARG_UNUSED(work);

	if (!s_running) {
		return;
	}
	/* A failed transmit is not fatal to the schedule: the radio is left off by
	 * prepoll_tx_one() and the next tick re-enters through dwt_starttx, which
	 * is how a transient SPI glitch recovers without tearing down the session. */
	(void)prepoll_tx_one();
	k_work_schedule(&s_work, K_MSEC(PREPOLL_TX_PERIOD_MS));
}

int initiator_prepoll_tx_start(const struct prepoll_tx_params *p)
{
	struct ccc_ran_session sess;
	uint8_t mupsk2[CCC_MUPSK2_LEN];
	uint8_t uad[CCC_UAD_LEN];
	int rc;

	if (p == NULL || p->ursk == NULL) {
		return -EINVAL;
	}

	memset(&sess, 0, sizeof(sess));
	memcpy(sess.ursk, p->ursk, CCC_URSK_LEN);
	sess.uwb_session_id = p->uwb_session_id;
	sess.sts_index0 = p->sts_index0;
	sess.hop_key_rw = p->hop_key_rw;
	sess.n_ran_s = p->n_ran_s;
	sess.n_chap_per_slot = p->n_chap_per_slot;
	sess.n_responder = p->n_responder;
	sess.n_slot_per_round = p->n_slot_per_round;
	/* CCC_HOP_NONE, deliberately: every block stays in round 0. Hopping is a
	 * schedule the reader would have to follow us into, and it cannot yet --
	 * it learns the POLL index from the Pre-POLL we send rather than computing
	 * one. Turning it on before there is a POLL to hop would be a schedule
	 * neither side is keeping. */
	sess.hop_mode = CCC_HOP_NONE;

	/* This is the first live caller of ccc_session_to_ran_params(); until now
	 * the whole schedule half of the CCC MAC was reachable only from
	 * tests/host. It rejects a round too short to hold N_Responder + 4 packets
	 * and an N_Round of zero, which is exactly the M3 arithmetic worth failing
	 * on before anything reaches the air. */
	rc = ccc_session_to_ran_params(&sess, &s_ran);
	if (rc != 0) {
		LOG_ERR("M3 parameters do not form a ranging schedule: slots/round %u, "
			"responders %u, chaps/slot %u, ran_mult %u",
			p->n_slot_per_round, p->n_responder, p->n_chap_per_slot, p->n_ran_s);
		return rc;
	}

	if (ccc_derive_mupsk1(sess.ursk, s_mupsk1) != 0 ||
	    ccc_derive_mupsk2(sess.ursk, mupsk2) != 0 ||
	    ccc_derive_uad(mupsk2, sess.sts_index0, uad) != 0 ||
	    ccc_uad_addresses(uad, s_keysource, s_dest_short, s_src_long) != 0) {
		LOG_ERR("SP0 key schedule failed");
		return -EIO;
	}

	rc = prepoll_tx_apply_phy(p->channel, p->sync_code_index);
	if (rc != 0) {
		return rc;
	}

	s_session_id = p->uwb_session_id;
	s_block = 0u;
	s_frame_counter = 0u;
	s_sent = 0u;
	s_running = true;

	LOG_INF("Pre-POLL TX up: ch %u code %u, sts0 0x%08x, %u slots/round, %u rounds/block",
		p->channel, p->sync_code_index, (unsigned)s_ran.sts_index0,
		(unsigned)s_ran.n_slot_per_round, (unsigned)s_ran.n_round);
	/* The reader prints its own copy of these two on its first decode. They are
	 * the fastest way to tell a key mismatch from a PHY mismatch: if the reader
	 * never logs a frame at all, it is the PHY; if it logs one and these differ,
	 * it is STS_Index0. */
	LOG_INF("Pre-POLL addr: dest %02x%02x keysrc %02x%02x%02x%02x", s_dest_short[0],
		s_dest_short[1], s_keysource[0], s_keysource[1], s_keysource[2], s_keysource[3]);

	k_work_schedule(&s_work, K_NO_WAIT);
	return 0;
}

void initiator_prepoll_tx_stop(void)
{
	if (!s_running) {
		return;
	}
	s_running = false;
	(void)k_work_cancel_delayable(&s_work);
	dwt_forcetrxoff();
	LOG_INF("Pre-POLL TX stopped after %u frames", (unsigned)s_sent);
}
```

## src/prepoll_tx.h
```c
/* SPDX-License-Identifier: ISC */

// Device-side CCC Pre-POLL transmitter: turns the URSK this board just agreed
// over BLE into the SP0 data frame that opens a ranging block, and puts it on
// the air on the session's channel.
/*
 * The first piece of the UWB *initiator* role, written to satisfy the reader's
 * prepoll_decode() (ccc_shim_rx.c). Pre-POLL only -- the first of a block's
 * five frames, so no distance is measured; what it proves is a shared SP0 key
 * schedule, because the Pre-POLL's AES-CCM* MIC is keyed by mUPSK1 over a
 * nonce built from SrcLongAddr, both derived from the URSK, and the reader
 * silently drops a mismatch. "PREPOLL OK" is proof of a shared key. No sync to
 * the reader's block clock needed: its listener self-rearms and is always
 * listening; slot timing only matters from the POLL on.
 */
#pragma once

#include <stdint.h>

/** The ranging-setup values a Pre-POLL needs, gathered across M1, M3 and M4. */
struct prepoll_tx_params {
	const uint8_t *ursk;      /**< 32 bytes, the key the Access Protocol produced. */
	uint32_t uwb_session_id;  /**< M1: UWB Session Identifier. */
	uint32_t sts_index0;      /**< M4: STS_Index0 (this board chose it). */
	uint32_t hop_key_rw;      /**< M4: Hop Mode Key. */
	uint8_t n_ran_s;          /**< M2: the RAN multiplier this board selected. */
	uint8_t n_chap_per_slot;  /**< M3: N_Chap_per_Slot. */
	uint8_t n_responder;      /**< M3: N_Responder. */
	uint8_t n_slot_per_round; /**< M3: N_Slot_per_Round. */
	uint8_t channel;          /**< M2: the UWB channel this board selected. */
	uint8_t sync_code_index;  /**< M4: the preamble code this board selected. */
};

/**
 * Derive the SP0 key material, configure the radio for SP0 and start sending one
 * Pre-POLL per ranging block. Idempotent: a second call restarts the schedule.
 *
 * Returns 0 once the first frame is scheduled, negative on a bad parameter set
 * or a radio that will not configure. It does NOT wait for the reader.
 */
int initiator_prepoll_tx_start(const struct prepoll_tx_params *p);

/** Stop transmitting and force the radio off. Safe if never started. */
void initiator_prepoll_tx_stop(void);
```

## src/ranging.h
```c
/* SPDX-License-Identifier: ISC */

// Device-side UWB ranging-setup driver for the initiator: consumes the reader's
// BleSK-sealed post-auth SDUs and answers them, walking AP-Completed ->
// Initiate-Ranging-Session -> M1 -> M2 -> M3 -> M4.
/*
 * The device mirror of modules/ultrawidelock_cred/src/ultrawidelock_ranging.c, which is
 * reader-only. Everything below the transport is existing code: the BleSK
 * channel is ultrawidelock_device.c's sc_ble and the M1-M4 codec is
 * modules/ultrawidelock_uwb/src/cred/ultrawidelock_device_uwb.c. This file is the glue that was
 * missing, and it lives in the application rather than in modules/ because the
 * radio half is only one frame deep: a device "ranging session" here is a BLE
 * conversation plus a Pre-POLL, and calling it ultrawidelock_device_ranging in modules/
 * would promise the rest of the block.
 *
 * SCOPE, stated plainly: this reaches the end of ranging SETUP and then hands
 * off to prepoll_tx.c, which sends the Pre-POLL that opens each ranging block.
 * The four frames after it -- POLL, RESPONSE, Final, Final_Data -- do not exist
 * on this board, so no distance is ever measured.
 */
#pragma once

#include <stddef.h>
#include <stdint.h>

struct ultrawidelock_device;

/** Arm the ranging-setup driver for @conn, once the Access Protocol has reached
 *  ESTABLISHED and @dev->sc_ble is therefore keyed. Idempotent per connection. */
void initiator_ranging_begin(struct ultrawidelock_device *dev, uint16_t conn);

/** Feed one inbound post-auth SDU, still sealed, exactly as it came off L2CAP
 *  (wire = [proto][id][len_be16][ct||tag]). Opens it on the BleSK channel and
 *  answers if the message calls for an answer. Returns 0 if the SDU was consumed,
 *  <0 if it was not ours or could not be opened. */
int initiator_ranging_on_sdu(uint16_t conn, const uint8_t *wire, size_t wire_len);

/** Drop the ranging state for @conn. Safe to call for a connection that never
 *  reached ESTABLISHED. */
void initiator_ranging_end(uint16_t conn);
```
